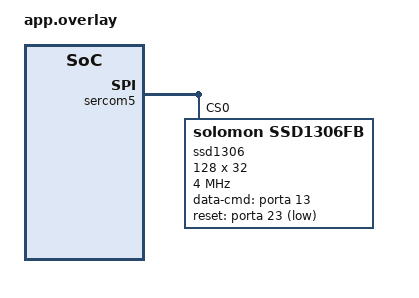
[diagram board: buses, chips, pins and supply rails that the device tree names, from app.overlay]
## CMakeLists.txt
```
cmake_minimum_required(VERSION 3.20.0)
find_package(Zephyr REQUIRED HINTS $ENV{ZEPHYR_BASE})
project(oled_direct_spi)

target_sources(app PRIVATE src/main.c)
```

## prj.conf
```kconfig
# Console
CONFIG_CONSOLE=y
CONFIG_UART_CONSOLE=y

# SPI (não I2C!)
CONFIG_SPI=y

# Display
CONFIG_DISPLAY=y
CONFIG_SSD1306=y
CONFIG_CHARACTER_FRAMEBUFFER=y

# GPIO para controle do display
CONFIG_GPIO=y

# Heap dinâmico
CONFIG_HEAP_MEM_POOL_SIZE=2048

# Logging
CONFIG_LOG=y
CONFIG_LOG_PRINTK=y
```

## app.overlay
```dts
/*
 * OLED1 Xplained Pro - Interface SPI
 * Display: UG-2832HSWEG04 (128x32 SSD1306)
 * 
 * Baseado nas configurações do Microchip ASF
 */

#include <dt-bindings/pinctrl/samr21g-pinctrl.h>
#include <dt-bindings/gpio/gpio.h>

/ {
	chosen {
		zephyr,display = &ssd1306;
	};
};

&sercom5 {
	status = "okay";
	compatible = "atmel,sam0-spi";
	dipo = <0>;
	dopo = <1>;
	#address-cells = <1>;
	#size-cells = <0>;
	
	pinctrl-0 = <&sercom5_spi_default_custom>;
	pinctrl-names = "default";

	ssd1306: ssd1306@0 {
		compatible = "solomon,ssd1306fb";
		reg = <0>;
		spi-max-frequency = <4000000>;
		width = <128>;
		height = <32>;
		segment-offset = <0>;
		page-offset = <0>;
		display-offset = <0>;
		multiplex-ratio = <31>;
		prechargep = <0xF1>;
		com-sequential;
		data-cmd-gpios = <&porta 13 GPIO_ACTIVE_HIGH>;
		reset-gpios = <&porta 23 GPIO_ACTIVE_LOW>;
	};
};

&pinctrl {
	sercom5_spi_default_custom: sercom5_spi_default_custom {
		group1 {
			pinmux = <PB2D_SERCOM5_PAD0>,
				 <PB3D_SERCOM5_PAD1>,
				 <PB22D_SERCOM5_PAD2>,
				 <PB23D_SERCOM5_PAD3>;
		};
	};
};
```

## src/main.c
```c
#include <zephyr/kernel.h>
#include <zephyr/device.h>
#include <zephyr/drivers/gpio.h>
#include <zephyr/drivers/display.h>
#include <zephyr/display/cfb.h>

/* LEDs do OLED1 - active LOW */
#define LED1_PIN 18  /* PA18 - Pin 7 EXT1 */
#define LED2_PIN 19  /* PA19 - Pin 8 EXT1 */
#define LED3_PIN 28  /* PA28 - Pin 6 EXT1 */

/* Botões do OLED1 - active LOW (pull-up interno) */
#define BTN1_PIN 22  /* PA22 - Pin 9 EXT1 */
#define BTN2_PIN 6   /* PA06 - Pin 3 EXT1 */
#define BTN3_PIN 7   /* PA07 - Pin 4 EXT1 */

int main(void)
{
	const struct device *gpio_dev;
	const struct device *display;
	int btn_state;
	
	k_sleep(K_MSEC(500));
	
	printk("\n\n");
	printk("=============================================\n");
	printk(" Teste Completo OLED1 Xplained Pro\n");
	printk("=============================================\n\n");

	/* Inicializa GPIO porta */
	gpio_dev = DEVICE_DT_GET(DT_NODELABEL(porta));
	
	if (!device_is_ready(gpio_dev)) {
		printk("ERRO: GPIO porta nao disponivel!\n");
		return -1;
	}
	
	printk("GPIO porta OK\n");
	
	/* Configura LEDs como saída (desligados inicialmente) */
	gpio_pin_configure(gpio_dev, LED1_PIN, GPIO_OUTPUT_HIGH);  /* HIGH = OFF (active LOW) */
	gpio_pin_configure(gpio_dev, LED2_PIN, GPIO_OUTPUT_HIGH);
	gpio_pin_configure(gpio_dev, LED3_PIN, GPIO_OUTPUT_HIGH);
	
	/* Configura Botões como entrada com pull-up */
	gpio_pin_configure(gpio_dev, BTN1_PIN, GPIO_INPUT | GPIO_PULL_UP);
	gpio_pin_configure(gpio_dev, BTN2_PIN, GPIO_INPUT | GPIO_PULL_UP);
	gpio_pin_configure(gpio_dev, BTN3_PIN, GPIO_INPUT | GPIO_PULL_UP);
	
	printk("LEDs e Botoes configurados\n\n");
	
	/* Teste sequencial dos LEDs */
	printk("=== Teste de LEDs ===\n");
	printk("LED1 ON...\n");
	gpio_pin_set(gpio_dev, LED1_PIN, 0); // Active LOW = ON
	k_sleep(K_MSEC(500));
	gpio_pin_set(gpio_dev, LED1_PIN, 1); // OFF
	
	printk("LED2 ON...\n");
	gpio_pin_set(gpio_dev, LED2_PIN, 0);
	k_sleep(K_MSEC(500));
	gpio_pin_set(gpio_dev, LED2_PIN, 1);
	
	printk("LED3 ON...\n");
	gpio_pin_set(gpio_dev, LED3_PIN, 0);
	k_sleep(K_MSEC(500));
	gpio_pin_set(gpio_dev, LED3_PIN, 1);
	
	printk("Todos LEDs ON...\n");
	gpio_pin_set(gpio_dev, LED1_PIN, 0);
	gpio_pin_set(gpio_dev, LED2_PIN, 0);
	gpio_pin_set(gpio_dev, LED3_PIN, 0);
	k_sleep(K_SECONDS(1));
	gpio_pin_set(gpio_dev, LED1_PIN, 1);
	gpio_pin_set(gpio_dev, LED2_PIN, 1);
	gpio_pin_set(gpio_dev, LED3_PIN, 1);
	
	printk("LEDs testados com sucesso!\n\n");
	
	printk("=== Teste de Display ===\n");
	
	display = DEVICE_DT_GET(DT_CHOSEN(zephyr_display));
	
	if (!device_is_ready(display)) {
		printk("ERRO: Display nao pronto!\n");
	} else {
		printk("Display OK: %s\n", display->name);
		
		if (cfb_framebuffer_init(display) == 0) {
			printk("CFB inicializado\n");
			
			cfb_framebuffer_clear(display, false);
			cfb_framebuffer_set_font(display, 0);
			
			cfb_print(display, "OLED1 TEST", 0, 0);
			cfb_print(display, "Press BTN", 0, 16);
			
			cfb_framebuffer_finalize(display);
			printk("Texto enviado\n");
		} else {
			printk("ERRO: CFB init falhou\n");
		}
	}
	
	printk("\n=== Modo Interativo ===\n");
	printk("Pressione os botoes do OLED1:\n");
	printk("  BTN1 (pin 9) -> LED1\n");
	printk("  BTN2 (pin 3) -> LED2\n");
	printk("  BTN3 (pin 4) -> LED3\n\n");
	
	int counter = 0;
	bool display_ok = device_is_ready(display);
	
	while (1) {
		/* Lê botões e controla LEDs */
		btn_state = gpio_pin_get(gpio_dev, BTN1_PIN);
		if (btn_state == 0) {
			printk("BTN1!\n");
			gpio_pin_set(gpio_dev, LED1_PIN, 0);
		} else {
			gpio_pin_set(gpio_dev, LED1_PIN, 1);
		}
		
		btn_state = gpio_pin_get(gpio_dev, BTN2_PIN);
		if (btn_state == 0) {
			printk("BTN2!\n");
			gpio_pin_set(gpio_dev, LED2_PIN, 0);
		} else {
			gpio_pin_set(gpio_dev, LED2_PIN, 1);
		}
		
		btn_state = gpio_pin_get(gpio_dev, BTN3_PIN);
		if (btn_state == 0) {
			printk("BTN3!\n");
			gpio_pin_set(gpio_dev, LED3_PIN, 0);
		} else {
			gpio_pin_set(gpio_dev, LED3_PIN, 1);
		}
		
		/* Atualiza display a cada 5 segundos */
		if (display_ok && (counter % 50 == 0)) {
			char buf[32];
			cfb_framebuffer_clear(display, false);
			cfb_print(display, "OLED1 TEST", 0, 0);
			snprintf(buf, sizeof(buf), "Cnt:%d", counter / 50);
			cfb_print(display, buf, 0, 16);
			cfb_framebuffer_finalize(display);
			printk("[%d] Display atualizado\n", counter / 50);
		}
		
		counter++;
		k_sleep(K_MSEC(100));
	}

	return 0;
}
```
